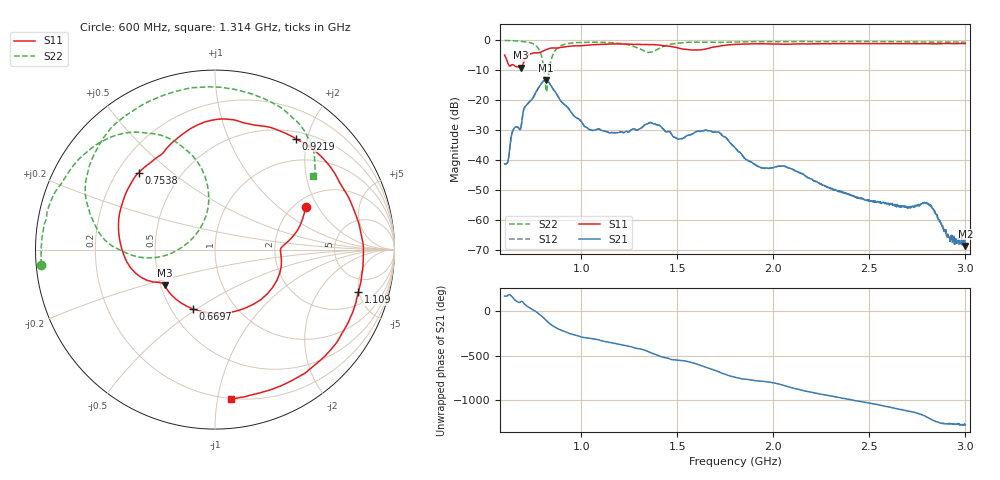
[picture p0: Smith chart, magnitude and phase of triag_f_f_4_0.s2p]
#  HZ  S  RI  R  50.00
! Rohde & Schwarz ZVB8 2Ports - Version 2.81 - 1145.1010k08 SN: 100113
! Date: 2016-05-03 01:37:51
! Measurements: S11 S21 S12 S22
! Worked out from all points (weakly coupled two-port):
!   1000 points, 600 MHz to 3 GHz, reference 50 ohm
!   highest |S21| = -13.39 dB at 813.8 MHz (marker M1); lowest = -68.6 dB at 3 GHz (marker M2)
!   lowest |S11| = -9.3 dB at 686.5 MHz (marker M3), VSWR 2.05, Z = 26.2 - j11.8 ohm
!   |S11| at or under -10 dB: nowhere
!   |S22| runs from -17.3 to -0.2 dB; largest |S21 - S12| = 0.0022
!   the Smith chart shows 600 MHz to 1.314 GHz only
!   S11 on the Smith chart (normalised r, x): 600 MHz: 2.28, +1.57; 669.7 MHz: 0.64, -0.48; 753.8 MHz: 0.29, +0.39; 921.9 MHz: 0.61, +1.80; 1.109 GHz: 3.17, -4.89; 1.314 GHz: 0.20, -1.09
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6e8  0.5046 0.2371  -0.0085 0.00103  -0.00853 0.000996  -0.9684 -0.0844
6.696697e8  -0.125 -0.3299  -0.00964 0.0334  -0.00979 0.0334  -0.9218 0.2512
6.864865e8  -0.2809 -0.199  -0.0135 0.0338  -0.0136 0.0336  -0.8811 0.3348
7.537538e8  -0.4262 0.4285  0.1145 0.0217  0.1144 0.023  -0.5486 0.6386
7.84985e8  -0.2838 0.545  0.1366 -0.106  0.137 -0.1045  -0.203 0.5889
8.138138e8  -0.1621 0.6562  -0.0177 -0.2134  -0.0167 -0.2133  -0.0646 0.1512
8.642643e8  0.1585 0.7067  -0.1351 -0.0024  -0.135 -0.00282  -0.6569 0.1135
9.219219e8  0.4495 0.6184  -0.0473 0.0625  -0.0475 0.0622  -0.6835 0.5078
1.001201e9  0.732 0.3127  0.0138 0.0404  0.0135 0.0404  -0.431 0.7905
1.109309e9  0.7983 -0.2368  0.0273 0.0141  0.0271 0.0143  0.0128 0.9057
1.313514e9  0.0873 -0.8327  0.0138 -0.0313  0.0139 -0.0313  0.5458 0.4086
1.4e9  -0.2946 -0.7621  -0.0273 -0.0263  -0.0273 -0.0265  0.5566 0.4285
1.565766e9  -0.5938 -0.3304  -0.0221 0.0136  -0.0221 0.0135  0.9024 -0.098
1.712312e9  -0.7733 -0.0493  0.0215 0.0196  0.0214 0.0197  0.6756 -0.5978
1.801201e9  -0.7845 0.2853  0.0146 -0.00598  0.0145 -0.00588  0.4592 -0.7908
2.000601e9  -0.2463 0.8084  0.000706 -0.00738  0.00076 -0.00739  -0.155 -0.9158
2.2e9  0.4892 0.7001  -0.00465 0.000962  -0.00461 0.000931  -0.6451 -0.6717
2.399399e9  0.8622 -0.0213  0.000153 0.00256  0.000136 0.00265  -0.8958 -0.2525
2.601201e9  0.4614 -0.7281  0.00189 0.000129  0.00186 0.000143  -0.9057 0.2086
2.807808e9  -0.2936 -0.8077  -0.000931 -0.00163  -0.000892 -0.00156  -0.6759 0.6111
2.918318e9  -0.6185 -0.6017  -0.000476 6.82e-05  -0.000506 6.05e-05  -0.495 0.7702
3e9  -0.7809 -0.3664  -0.000349 0.000122  -0.0005 8.18e-05  -0.3184 0.8529
